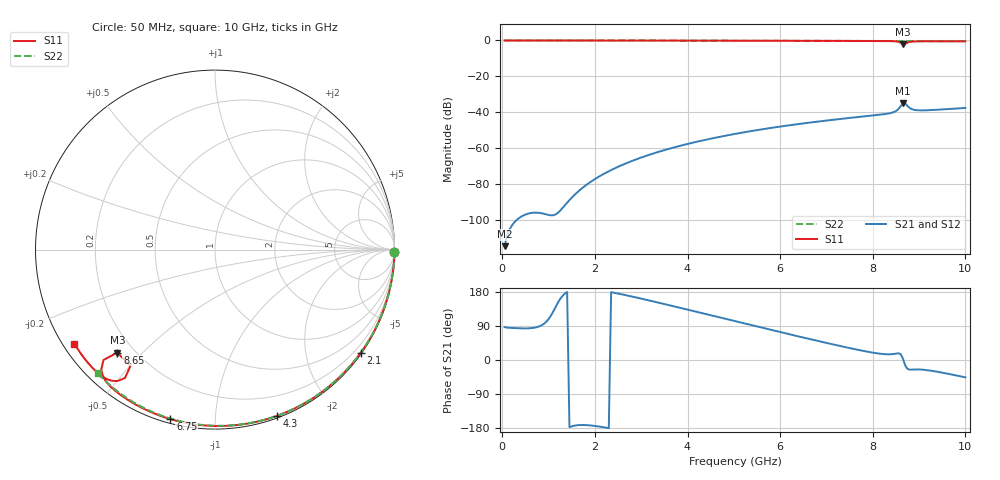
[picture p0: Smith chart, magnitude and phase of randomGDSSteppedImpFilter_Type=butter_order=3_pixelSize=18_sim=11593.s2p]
! freq	dB(S11)	phase(S11)	dB(S12)	phase(S12)
!  dB(S21)	phase(S21)	dB(S22)	phase(S22)
!S-par simulation data
#  GHz  S  DB  R 50
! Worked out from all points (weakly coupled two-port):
!   200 points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, 50 MHz to 10 GHz, reference 50 ohm
!   highest |S21| = -34.94 dB at 8.65 GHz (marker M1); lowest = -114.6 dB at 50 MHz (marker M2)
!   lowest |S11| = -2.0 dB at 8.65 GHz (marker M3), VSWR 8.56, Z = 6.91 - j21.2 ohm
!   |S11| at or under -10 dB: nowhere
!   |S22| runs from -0.4 to 0.0 dB; largest |S21 - S12| = 0
!   S11 on the Smith chart (normalised r, x): 50 MHz: open; 2.1 GHz: 0.03, -3.15; 4.3 GHz: 0.02, -1.44; 6.75 GHz: 0.02, -0.77; 8.65 GHz: 0.14, -0.42; 10 GHz: 0.03, -0.30
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0.05  -0.00 -0.9  -114.65 86.9  -114.65 86.9  -0.00 -0.8
0.9  -0.02 -15.3  -96.58 95.7  -96.58 95.7  -0.02 -13.8
1.75  -0.04 -29.5  -81.78 -171.5  -81.78 -171.5  -0.03 -26.6
1.85  -0.04 -31.1  -79.84 -172.1  -79.84 -172.1  -0.04 -28.1
2.1  -0.04 -35.2  -75.69 -175.7  -75.69 -175.7  -0.04 -31.8
2.7  -0.06 -44.9  -68.19 170.2  -68.19 170.2  -0.05 -40.5
3.4  -0.07 -55.9  -61.87 150.6  -61.87 150.6  -0.07 -50.6
4.3  -0.10 -69.7  -55.86 124.1  -55.86 124.1  -0.09 -63.1
5.05  -0.12 -80.8  -51.97 101.7  -51.97 101.7  -0.11 -73.2
5.85  -0.16 -92.2  -48.56 78.1  -48.56 78.1  -0.14 -83.6
6.7  -0.20 -104.0  -45.57 53.5  -45.57 53.5  -0.18 -94.3
6.75  -0.20 -104.7  -45.41 52.1  -45.41 52.1  -0.18 -94.9
7.7  -0.27 -117.8  -42.64 26.3  -42.64 26.3  -0.24 -106.5
8.35  -0.37 -127.9  -40.64 15.0  -40.64 15.0  -0.29 -114.2
8.5  -0.54 -131.7  -39.36 16.9  -39.36 16.9  -0.30 -116.0
8.6  -1.17 -135.3  -36.76 15.8  -36.76 15.8  -0.31 -117.1
8.65  -2.04 -133.5  -34.94 4.3  -34.94 4.3  -0.31 -117.7
8.7  -1.93 -126.0  -35.04 -14.5  -35.04 -14.5  -0.32 -118.3
8.75  -1.17 -125.0  -36.56 -23.6  -36.56 -23.6  -0.32 -118.9
8.85  -0.64 -128.1  -38.34 -25.2  -38.34 -25.2  -0.33 -120.1
8.95  -0.52 -130.5  -38.86 -24.7  -38.86 -24.7  -0.34 -121.2
10  -0.52 -146.2  -37.61 -45.8  -37.61 -45.8  -0.45 -133.4
